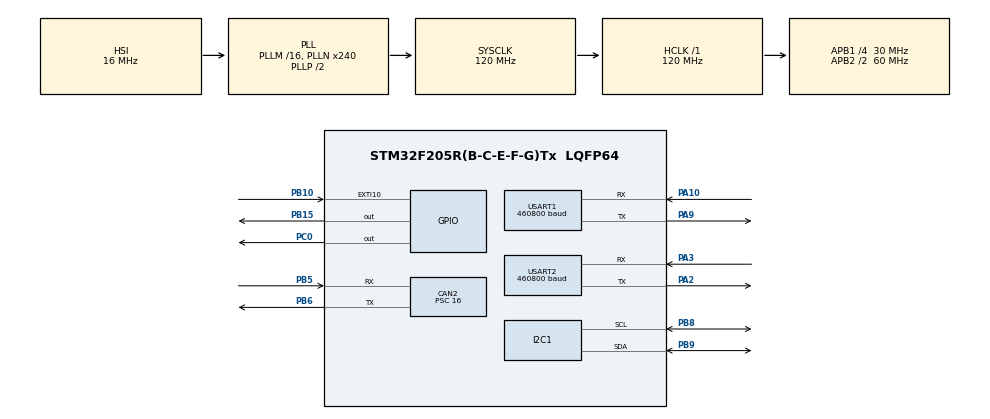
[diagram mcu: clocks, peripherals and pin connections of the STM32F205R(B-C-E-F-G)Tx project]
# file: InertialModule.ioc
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CAN2.BS1=CAN_BS1_6TQ
CAN2.BS1-Slave=CAN_BS1_6TQ
CAN2.BS2=CAN_BS2_8TQ
CAN2.BS2-Slave=CAN_BS2_8TQ
CAN2.CalculateTimeBit=8000
CAN2.CalculateTimeBit-Slave=8010
CAN2.CalculateTimeQuantum=533.3333333333334
CAN2.CalculateTimeQuantum-Slave=534
CAN2.Mode=CAN_MODE_LOOPBACK
CAN2.Mode-Slave=CAN_MODE_NORMAL
CAN2.NART=ENABLE
CAN2.NART-Slave=ENABLE
CAN2.Prescaler=16
CAN2.Prescaler-Slave=16
Mcu.Family=STM32F2
Mcu.Name=STM32F205R(B-C-E-F-G)Tx
Mcu.Package=LQFP64
NVIC.PriorityGroup=NVIC_PRIORITYGROUP_4
NVIC.TIM6_DAC_IRQn=true\:3\:0\:true
NVIC.TIM7_IRQn=true\:4\:0\:true
NVIC.USART1_IRQn=true\:0\:0\:false
NVIC.USART2_IRQn=true\:2\:0\:true
PA10.Mode=Asynchronous
PA10.Signal=USART1_RX
PA13.Mode=Serial-Wire
PA13.Signal=SYS_JTMS-SWDIO
PA14.Mode=Serial-Wire
PA14.Signal=SYS_JTCK-SWCLK
PA2.Mode=Asynchronous
PA2.Signal=USART2_TX
PA3.Mode=Asynchronous
PA3.Signal=USART2_RX
PA9.Mode=Asynchronous
PA9.Signal=USART1_TX
PB10.Signal=GPXTI10
PB15.Signal=GPIO_Output
PB5.GPIO_Mode=GPIO_MODE_AF_PP
PB5.GPIO_PuPd=GPIO_NOPULL
PB5.GPIO_Speed=GPIO_SPEED_FAST
PB5.Mode=Slave
PB5.Signal=CAN2_RX
PB6.GPIO_Mode=GPIO_MODE_AF_PP
PB6.GPIO_PuPd=GPIO_NOPULL
PB6.GPIO_Speed=GPIO_SPEED_FAST
PB6.Mode=Slave
PB6.Signal=CAN2_TX
PB8.Mode=I2C
PB8.Signal=I2C1_SCL
PB9.Mode=I2C
PB9.Signal=I2C1_SDA
PC0.GPIO_ModeDefaultOutputPP=GPIO_MODE_OUTPUT_PP
PC0.GPIO_PuPd=GPIO_NOPULL
PC0.GPIO_Speed=GPIO_SPEED_FAST
PC0.Signal=GPIO_Output
ProjectManager.TargetToolchain=TrueSTUDIO 4.3.1
RCC.48MHZClocksFreq_Value=60000000
RCC.AHBFreq_Value=120000000
RCC.APB1CLKDivider=RCC_HCLK_DIV4
RCC.APB1Freq_Value=30000000
RCC.APB1TimFreq_Value=60000000
RCC.APB2CLKDivider=RCC_HCLK_DIV2
RCC.APB2Freq_Value=60000000
RCC.APB2TimFreq_Value=120000000
RCC.CortexFreq_Value=120000000
RCC.HCLKFreq_Value=120000000
RCC.HSE_VALUE=8000000
RCC.HSICalibrationValue=1
RCC.HSI_VALUE=16000000
RCC.LSE_VALUE=32768
RCC.PLLN=240
RCC.SYSCLKFreq_VALUE=120000000
RCC.SYSCLKSource=RCC_SYSCLKSOURCE_PLLCLK
RCC.VCOOutputFreq_Value=240000000
TIM6.Period=366
TIM6.Prescaler=16383
TIM7.Period=10
TIM7.Prescaler=6000
USART1.BaudRate=460800
USART1.Mode=UART_MODE_RX
USART2.BaudRate=460800
USART2.Mode=UART_MODE_RX
USART2.OverSampling=UART_OVERSAMPLING_8
VP_TIM6_VS_ClockSourceINT.Mode=Enable_Timer
VP_TIM7_VS_ClockSourceINT.Mode=Enable_Timer

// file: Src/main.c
/**
  ******************************************************************************
  * File Name          : main.c
  * Description        : Main program body
  ******************************************************************************
  *
  * COPYRIGHT(c) 2015 STMicroelectronics
  *
  * Redistribution and use in source and binary forms, with or without modification,
  * are permitted provided that the following conditions are met:
  *   1. Redistributions of source code must retain the above copyright notice,
  *      this list of conditions and the following disclaimer.
  *   2. Redistributions in binary form must reproduce the above copyright notice,
  *      this list of conditions and the following disclaimer in the documentation
  *      and/or other materials provided with the distribution.
  *   3. Neither the name of STMicroelectronics nor the names of its contributors
  *      may be used to endorse or promote products derived from this software
  *      without specific prior written permission.
  *
  * THIS SOFTWARE IS PROVIDED BY THE COPYRIGHT HOLDERS AND CONTRIBUTORS "AS IS"
  * AND ANY EXPRESS OR IMPLIED WARRANTIES, INCLUDING, BUT NOT LIMITED TO, THE
  * IMPLIED WARRANTIES OF MERCHANTABILITY AND FITNESS FOR A PARTICULAR PURPOSE ARE
  * DISCLAIMED. IN NO EVENT SHALL THE COPYRIGHT HOLDER OR CONTRIBUTORS BE LIABLE
  * FOR ANY DIRECT, INDIRECT, INCIDENTAL, SPECIAL, EXEMPLARY, OR CONSEQUENTIAL
  * DAMAGES (INCLUDING, BUT NOT LIMITED TO, PROCUREMENT OF SUBSTITUTE GOODS OR
  * SERVICES; LOSS OF USE, DATA, OR PROFITS; OR BUSINESS INTERRUPTION) HOWEVER
  * CAUSED AND ON ANY THEORY OF LIABILITY, WHETHER IN CONTRACT, STRICT LIABILITY,
  * OR TORT (INCLUDING NEGLIGENCE OR OTHERWISE) ARISING IN ANY WAY OUT OF THE USE
  * OF THIS SOFTWARE, EVEN IF ADVISED OF THE POSSIBILITY OF SUCH DAMAGE.
  *
  ******************************************************************************
  */

#include "stm32f2xx_hal.h"
#include "can.h"
#include "i2c.h"
#include "tim.h"
#include "usart.h"
#include "gpio.h"

/* USER CODE BEGIN Includes */
#include "main.h"
#include "CAN_protocol.h"

//#include "stdlib.h"
//#include "c++/4.8.1/vector"
//#include <c++/4.8.1/bits/stl_vector.h>
//#include "stdio.h"

/* USER CODE END Includes */

/* USER CODE BEGIN PV */
#define RXBUFFERSIZE 1000
 #define	sIDLE		0
 #define	sHEAD		1
 #define	sDATA		2
 #define	sEND		3
 #define	sPRECRC		4
 #define	sPOSTCRC	5
 #define	sCHECK		6
 #define	sDONE		7
#define DLEBINR 16
#define ETXBINR 3
#define framedArrSIZE 49
uint16_t DLINA_AT;
char AT_COM[64];
int TxBusy = 0;
char mas[1];

char 	TxNMEA0183[500];			//буфер передатчика
uint8_t		TxCntNMEA0183;				//счетчик передатчика
char 	RxNMEA0183[500];			//буфер передатчика
uint8_t		RxCntNMEA0183;				//счетчик передатчика
bool	reciveNMEA0183;				//флаг принятых новых данных
bool	sendNMEA0183;				//флаг окончания передачи
bool	T7Flag;						//флаг срабатывания таймера №7
char 	TxRS485[500];			//буфер передатчика
uint8_t		TxCntRS485;				//счетчик передатчика
char 	RxRS485[500];			//буфер передатчика
uint8_t		RxCntRS485;				//счетчик передатчика
bool	reciveRS485;				//флаг принятых новых данных
bool	sendRS485;				//флаг окончания передачи
bool	reciveADRRS485;				//флаг совпадения принятого и текущего адреса
uint8_t aRxBuffer[RXBUFFERSIZE];
char 	TxBINR[500];			//буфер передатчика
uint16_t		TxCntBINR;				//счетчик передатчика
char 	RxBINR[2048];			//буфер передатчика
uint16_t		RxCntBINR;				//счетчик передатчика
bool	reciveBINR;				//флаг принятых новых данных
bool	sendBINR;				//флаг окончания передачи
// bool idleCatched = false;
bool	flagnewbinr;
uint16_t 		RxWrIndex;
bool 	RxBinrBuffOverrun;
uint8_t		NumberSatateRxBINR;		//флаг состояния автомата
#ifdef yesCRC
	bool	CRCok;					//флаг совпадения контрольных сумм
	uint8_t		NumberbyteCRC;			//счетчик байт контрольной суммы
	uint8_t		MCRC[5];				//массив байт контрольной суммы
#endif
uint8_t		hE4BINRmas[530];		//массив с принятым пакетом Е4
bool	hE4BINRok;				//флаг притяного массива Е4
uint8_t		h41BINRmas[12];			//массив с принятым пакетом 41
bool	h41BINRok;				//флаг притяного массива 41
uint8_t		h52BINRmas[224];		//массив с принятым пакетом 52
bool	h52BINRok;				//флаг притяного массива 52
uint8_t		h88BINRmas[69];			//массив с принятым пакетом 88
bool	h88BINRok;				//флаг притяного массива 88
//uint8_t
int dataArrIndex;
int mesCount =86;
uint8_t modeCANmsg;
int size = 0;
uint8_t INSstructArr[72];
uint8_t DMU10_mes[68];
volatile uint8_t messg[8];
volatile int cntr=0;
uint8_t headerLSB=0,headerMSB=0;
bool recieveFlag = false;
uint32_t mesCounter=0;
unsigned short Serial;//
unsigned char MsgType,Devtype,Priority,MsgMode;
uint8_t framedArrCANTx[framedArrSIZE];
//TIM_Base_InitTypeDef TimHandle;
bool checkMessageFlag;
int idleCounter;
int rxCounter;
bool beginCANTransmitFlag;
int canMessCounter=0;
char inc;
int rpuChannelsQty=0;
INSCoordMessage insdata;
/* USER CODE END PV */

void SystemClock_Config(void);

/* USER CODE BEGIN 0 */
#define CAN_SHDN_PORT GPIOB
#define CAN_SHDN_PIN GPIO_PIN_15

#define LED_LEG_PORT GPIOC
#define LED_LEG_PIN GPIO_PIN_0
//#define RESET_CSM_PORT GPIOB
//#define RESET_CSM_PIN GPIO_PIN_7
//
//#define LED_1_PORT GPIOE
//#define LED_1_PIN  GPIO_PIN_2

#define __HAL_CAN_CANCEL_TRANSMIT(__HANDLE__, __TRANSMITMAILBOX__)\
(((__TRANSMITMAILBOX__) == CAN_TXMAILBOX_0)? ((__HANDLE__)->Instance->TSR |= CAN_TSR_ABRQ0) :\
 ((__TRANSMITMAILBOX__) == CAN_TXMAILBOX_1)? ((__HANDLE__)->Instance->TSR |= CAN_TSR_ABRQ1) :\
 ((__HANDLE__)->Instance->TSR |= CAN_TSR_ABRQ2))
/* USER CODE END 0 */

int main(void)
{

  /* USER CODE BEGIN 1 */
	beginCANTransmitFlag = 0;

  /* USER CODE END 1 */

  /* MCU Configuration----------------------------------------------------------*/

  /* Reset of all peripherals, Initializes the Flash interface and the Systick. */
  HAL_Init();

  /* Configure the system clock */
  SystemClock_Config();

  /* Initialize all configured peripherals */
  MX_GPIO_Init();
  MX_CAN2_Init();
  MX_I2C1_Init();
  MX_TIM6_Init();
  MX_TIM7_Init();
  MX_USART1_UART_Init();
  MX_USART2_UART_Init();

  /* USER CODE BEGIN 2 */
//  HAL_CAN_MspInit(&hcan2);
  inc = 0;
  double tmp = 1.2;
  volatile uint8_t arr[sizeof(tmp)];
  volatile int sizechecker;
  sizechecker = sizeof(float);
  sizechecker = sizeof(double);
  var2ArrConverter((char*)&tmp,sizeof(tmp),arr);
  volatile const uint8_t someval= calcCSofArr(arr,7);
  hcan2.pTxMsg = &TxMessage;
  hcan2.pRxMsg = &RxMessage;
  TxMessage.StdId = &STDID;
  IMfreqs.MDADFrequency = 20;
  IMfreqs.MDLUFrequency = 300;
  IMfreqs.MDUSFrequency = 180;
  IMfreqs.totalFrequency = 500;
  checkFrequencies();
  HAL_UART_Receive_IT(&huart1,mas,1);
//  Freq = 500;
  FreqPresc = CoreFreq/(IMfreqs.totalFrequency);
  htim7.Init.Prescaler = FreqPresc;//*0.908;
  htim7.Init.Period = 1;
  CAN_FilterConfTypeDef sFilterConfig;
  sFilterConfig.BankNumber = 0;
  sFilterConfig.FilterActivation = ENABLE;
  sFilterConfig.FilterFIFOAssignment = CAN_FILTER_FIFO0;
  sFilterConfig.FilterIdHigh = 0x0;// ДЛУ
  sFilterConfig.FilterIdLow = 0x000C;
  sFilterConfig.FilterMaskIdHigh = 0x0;
  sFilterConfig.FilterMaskIdLow = 0x0;
  sFilterConfig.FilterMode = CAN_FILTERMODE_IDMASK;
  sFilterConfig.FilterNumber = 0;
  sFilterConfig.FilterScale = CAN_FILTERSCALE_32BIT;
//  HAL_CAN_ConfigFilter(&hcan2, &sFilterConfig);
  HAL_CAN_Init(&hcan2);
  volatile int clock = HAL_RCC_GetSysClockFreq();
  clock = HAL_RCC_GetPCLK1Freq();
  clock = HAL_RCC_GetHCLKFreq();
  clock = HAL_RCC_GetPCLK2Freq();
  volatile RCC_OscInitTypeDef rccConf;
  HAL_RCC_GetOscConfig(&rccConf);
  /* USER CODE END 2 */

  /* Infinite loop */
  /* USER CODE BEGIN WHILE */
//  while (1)
//  {
  /* USER CODE END WHILE */

  /* USER CODE BEGIN 3 */
  module = INScoords;
  HAL_GPIO_WritePin(CAN_SHDN_PORT,CAN_SHDN_PIN,0);
  size = getArraySize((uint8_t*)&insdata,sizeof(INSCoordMessage));

//  HAL_CAN_Receive_IT(&hcan2,CAN_FIFO0);
  /* Infinite loop */
  while (1)
  {
	  protocolMessageProcessor((uint8_t*)&insdata,sizeof(INSCoordMessage),INSstructArr);
	  volatile int m;
	  for(int i = 0; i < size/8; i++ )
	  {

		  cntr = mesQueueProcedure(INSstructArr,cntr,messg,size);
		  if(i==0)
			  m=3;
		  else if(i==size/8-1)
			 m=2;
		  else
			 m=1;
		  prepareSTDID(m,module);
		  setTxDataMessage(module,messg);
		  hcan2.pTxMsg = &TxMessage;
		  if(HAL_CAN_Transmit(&hcan2,3)!=HAL_OK)
			  		{
			  			Error_Handler();
			  		}

	  }
	  cntr = 0;
 }
  /* USER CODE END 3 */

}

/** System Clock Configuration
*/
void SystemClock_Config(void)
{

  RCC_OscInitTypeDef RCC_OscInitStruct;
  RCC_ClkInitTypeDef RCC_ClkInitStruct;

  RCC_OscInitStruct.OscillatorType = RCC_OSCILLATORTYPE_HSI;
  RCC_OscInitStruct.HSIState = RCC_HSI_ON;
  RCC_OscInitStruct.HSICalibrationValue = 1;
  RCC_OscInitStruct.PLL.PLLState = RCC_PLL_ON;
  RCC_OscInitStruct.PLL.PLLSource = RCC_PLLSOURCE_HSI;
  RCC_OscInitStruct.PLL.PLLM = 16;
  RCC_OscInitStruct.PLL.PLLN = 240;
  RCC_OscInitStruct.PLL.PLLP = RCC_PLLP_DIV2;
  RCC_OscInitStruct.PLL.PLLQ = 4;
  HAL_RCC_OscConfig(&RCC_OscInitStruct);

  RCC_ClkInitStruct.ClockType = RCC_CLOCKTYPE_SYSCLK|RCC_CLOCKTYPE_PCLK1
                              |RCC_CLOCKTYPE_PCLK2;
  RCC_ClkInitStruct.SYSCLKSource = RCC_SYSCLKSOURCE_PLLCLK;
  RCC_ClkInitStruct.AHBCLKDivider = RCC_SYSCLK_DIV1;
  RCC_ClkInitStruct.APB1CLKDivider = RCC_HCLK_DIV4;
  RCC_ClkInitStruct.APB2CLKDivider = RCC_HCLK_DIV2;
  HAL_RCC_ClockConfig(&RCC_ClkInitStruct, FLASH_LATENCY_3);

  HAL_SYSTICK_Config(HAL_RCC_GetHCLKFreq()/1000);

  HAL_SYSTICK_CLKSourceConfig(SYSTICK_CLKSOURCE_HCLK);

}

/* USER CODE BEGIN 4 */

/*NOT IN USE NOW!!!!!
 * procedure func calculate which of subdevices'(MDLU,MDUS,MDAD) data should now be transmitted on CAN
 * also checks cycle state: 0 means transmition to be continued, 1 means last subdevice tick, and beginning new cycle
 * of transmition on next step
 */
char freqQueue(char *f)
{
	double MDLUweightGain = (double)((double)IMfreqs.totalFrequency/(double)IMfreqs.MDLUFrequency)*(double)IMfreqs.MDLUtickCounter;
	double MDUSweightGain = (double)((double)IMfreqs.totalFrequency/(double)IMfreqs.MDUSFrequency)*(double)IMfreqs.MDUStickCounter;
	double MDADweightGain = (double)((double)IMfreqs.totalFrequency/(double)IMfreqs.MDADFrequency)*(double)IMfreqs.MDADtickCounter;
	*f = 3;
	if(MDLUweightGain>=MDUSweightGain)
	{
		if(MDUSweightGain<=MDADweightGain)
		{
			if(IMfreqs.MDUStickCounter<IMfreqs.totalFrequency)
			{
				IMfreqs.MDUStickCounter++;
				*f = MDUSFrequency;
				return 0;
			}
			else return 1;
		}
		else
		{
			if(IMfreqs.MDADtickCounter<IMfreqs.totalFrequency)
			{
				IMfreqs.MDADtickCounter++;
				*f = MDADFrequency;
				return 0;
			}
			else return 1;
		}
	}
	else
	{
		if(MDLUweightGain<=MDADweightGain)
		{
			if(IMfreqs.MDLUtickCounter<IMfreqs.totalFrequency)
			{
				IMfreqs.MDLUtickCounter++;
				*f = MDLUFrequency;
				return 0;
			}
			else return 1;
		}
		else
		{
			if(IMfreqs.MDADtickCounter<IMfreqs.totalFrequency)
			{
				IMfreqs.MDADtickCounter++;
				*f = MDADFrequency;
				return 0;
			}
			else return 1;
		}
	}

}
/*NOT IN USE NOW!!!!
 * check correctness of desired MDAD,MDLU and MDUS frequencies, do their sum is equal to totalFrequency of device
 * returns 0 if ok, and  1 if nope
 */
char checkFrequencies()
{
	if(IMfreqs.totalFrequency == (IMfreqs.MDUSFrequency+IMfreqs.MDLUFrequency+IMfreqs.MDADFrequency))
	{
		IMfreqs.MDLUtickCounter = 0;
		IMfreqs.MDUStickCounter = 0;
		IMfreqs.MDADtickCounter = 0;
		return 0;
	}
	else
		return 1;
}

void Error_Handler()
{
	volatile uint32_t tmpError=0;
	volatile HAL_CAN_StateTypeDef tmpStatus=0;
	tmpError = HAL_CAN_GetError(&hcan2);
	if(tmpError==0)
	{
		tmpStatus = HAL_CAN_GetState(&hcan2);
	}
	if(tmpStatus!=HAL_CAN_STATE_READY)
	{
		hcan2.State = HAL_CAN_STATE_READY;
//		HAL_CAN_DeInit(&hcan2);
//		HAL_CAN_Init(&hcan2);
	}

}

void HAL_CAN_RxCpltCallback(CAN_HandleTypeDef* hcan)
{
	if (hcan->pRxMsg->FIFONumber == 0)
	{

	}
	if (hcan->pRxMsg->FIFONumber == 1)
	{

	}
	if(hcan->Instance==CAN2)
	{
//		HAL_CAN_Receive_IT(&hcan2,CAN_FIFO0);
		counter++;
		HAL_GPIO_TogglePin(LED_LEG_PORT,LED_LEG_PIN);
	}
	HAL_CAN_Receive_IT(&hcan2,CAN_FIFO0);
//	if(HAL_CAN_Receive_IT(&hcan2,CAN_FIFO0)!= HAL_OK)
//	{
//		Error_Handler();
//	}
}
void HAL_CAN_ErrorCallback(CAN_HandleTypeDef *hcan)
{
	__IO uint32_t ERR;
	if(hcan->Instance==CAN2)
	{
		  ERR=hcan->ErrorCode;
		  hcan->ErrorCode=0;
		  if ( ((hcan->Instance->TSR&CAN_TSR_TERR0) == CAN_TSR_TERR0) )
		  {
			__HAL_CAN_CANCEL_TRANSMIT(hcan,0);
		  }
//		  if ((hcan->Instance->TSR&CAN_TSR_TME1) == 0)
//		  {
//			  __HAL_CAN_CANCEL_TRANSMIT(hcan,1);
//		  }
//		  if ((hcan->Instance->TSR&CAN_TSR_TME2) == 0)
//		  {
//			  __HAL_CAN_CANCEL_TRANSMIT(hcan,2);
//		  }
		  HAL_CAN_Receive_IT(&hcan2,CAN_FIFO0);
	}
}

void HAL_UART_RxCpltCallback(UART_HandleTypeDef *huart)
{
	if(huart->Instance==USART1)
	{

		uint8_t rxbyte = (uint8_t)USART1->DR;
		HAL_UART_Receive_IT(huart, mas, 1);

		if(recieveFlag)
		{

			mesCounter++;
			DMU10_mes[mesCounter] = rxbyte;
			if(mesCounter==67)
			{
//			    DMU10msg = *(DMU10Message*)DMU10_mes;
				uint8_t tmparr[68];
				straightToInverseConverter(DMU10_mes,sizeof(DMU10Message),tmparr);
			    memcpy(&DMU10msg,tmparr,sizeof(DMU10Message));
			    convertDMU10ToINSMessage(&insdata,DMU10msg);
				recieveFlag=0;
				mesCounter = 0;
				headerLSB=0;
				headerMSB=0;
				clearDMU10_mes();
			}
		}
		else
		{
//			headerLSB=0;
			if(rxbyte==0x55)
			{

				headerMSB = 0x55;
				recieveFlag = false;
				clearDMU10_mes();
				mesCounter=0;
				DMU10_mes[mesCounter] = rxbyte;
	//			headerMSB=0;
			}
			else if(rxbyte==0xAA)
			{
//				headerLSB = 0;
				if(headerMSB == 0x55)
				{
					headerLSB=0xAA;
					recieveFlag = true;
//					mesCounter = 1;
					DMU10_mes[++mesCounter] = rxbyte;
				}
			}
		}

	}
	if(huart->Instance==USART2)
	{
		char rxbyte = (char)USART2->DR;
		HAL_UART_Receive_IT(huart, mas, 1);
	}
}

void convertDMU10ToINSMessage(INSCoordMessage *ins,DMU10Message dmu)
{
	ins->aX = dmu.Xacceleration;
	ins->aY = dmu.Yacceleration;
	ins->aZ = dmu.Zacceleration;
	ins->wX = dmu.Xrate;
	ins->wY = dmu.Yrate;
	ins->wZ = dmu.Zrate;
	ins->XIN = 0;
	ins->YIN = 0;
	ins->ZIN = 0;
	ins->angleX = dmu.XDeltaTheta;
	ins->angleY = dmu.YDeltaTheta;
	ins->angleZ = dmu.ZDeltaTheta;
	ins->xDIS = 0;
	ins->yDIS = 0;
	ins->zDIS = 0;

}

int straightToInverseConverter(uint8_t *inarr, uint32_t size, uint8_t *outarr)
{
	if(size==sizeof(DMU10Message))
	{
		outarr[0]=inarr[1];
		outarr[1]=inarr[0];

		outarr[2]=inarr[3];
		outarr[3]=inarr[2];
		for(int i = 4; i < 60; i+=4)
		{
			outarr[i]=inarr[i+3];
			outarr[i+1]=inarr[i+2];
			outarr[i+2]=inarr[i+1];
			outarr[i+3]=inarr[i];
		}

		outarr[60]=inarr[61];
	    outarr[61]=inarr[60];

	    outarr[62]=inarr[63];
	    outarr[63]=inarr[62];

		outarr[64]=inarr[65];
	    outarr[65]=inarr[64];

	    outarr[66]=inarr[67];
	    outarr[67]=inarr[66];

	}
	else return -1;
	return 0;
}

void clearDMU10_mes()
{
	for(int i =0; i < 68; i++)
	{
		DMU10_mes[i] = 0;
	}
}

void HAL_UART_ErrorCallback(UART_HandleTypeDef *huart)
{
	if(huart->Instance == USART1)
	{
//		huart->ErrorCode = HAL_UART_ERROR_NONE;
		if(HAL_UART_GetError(huart)==HAL_UART_ERROR_ORE)
			__HAL_UART_CLEAR_FLAG(huart,HAL_UART_ERROR_ORE);
		recieveFlag = false;
		mesCounter = 0;
		clearDMU10_mes();
		huart->ErrorCode = HAL_UART_ERROR_NONE;
//		huart->State = HAL_UART_STATE_READY;
		char rxbyte = (char)USART1->DR;
		HAL_UART_Receive_IT(huart, mas, 1);
	}
}

void HAL_CAN_TxCpltCallback(CAN_HandleTypeDef* hcan)
{
	if(hcan->Instance==CAN2)
	{
		if(HAL_CAN_GetState(&hcan2)==HAL_CAN_STATE_READY)
		  for(int i = 1; i < size/8; i++ )
		  {
			  cntr = mesQueueProcedure(INSstructArr,cntr,messg,size);
			  HAL_CAN_Transmit_IT(&hcan2);
	//		  HAL_Delay(10);
	//		  if(HAL_CAN_Transmit(&hcan2,3)!=HAL_OK)
	//			  		{
	//			  			Error_Handler();
	//			  		}
	//		  if(cntr!=-1)
	//		  	  HAL_CAN_Transmit(&hcan2,2);
	//		  else
	//			  i = size/8;

		  }
//		if(canMessCounter<mesCount)
//			{
//				if(canMessCounter<mesCount-1)
//					prepareSTDID(1,2,3,3);
//				else
//					prepareSTDID(2,2,3,3);
//				hcan2.pTxMsg = &framedMessagesArr[canMessCounter];
//				framedMessagesArr[canMessCounter].IDE = CAN_ID_STD;
//				framedMessagesArr[canMessCounter].DLC = 8;
//				uint32_t tmp = *(uint32_t*)&STDID;
//				framedMessagesArr[canMessCounter++].StdId =tmp;
//				HAL_CAN_Transmit_IT(&hcan2);
//		//		beginCANTransmitFlag = false;
//			}
//		else canMessCounter=0;

	}
//	if(HAL_CAN_GetState(&hcan2)==HAL_CAN_STATE_READY)
//	{

//			hcan2.pTxMsg = framedMessagesArr[canMessCounter++];
//			prepareSTDID((char)mesMode,2,3,3);
//			hcan2.pTxMsg = &framedMessagesArr[j];
//			framedMessagesArr[j].IDE = CAN_ID_STD;
//			framedMessagesArr[j].DLC = 8;
//			framedMessagesArr[j].StdId = STDID;
//			HAL_CAN_Transmit_IT(&hcan2);
//			HAL_CAN_Transmit_IT()
//		}
//	}
//	 HAL_CAN_IRQHandler(&hcan2);
//	HAL_CAN_Transmit_IT(&hcan2);
}

void HAL_TIM_PeriodElapsedCallback(TIM_HandleTypeDef *htim)
{
	volatile char f;
	char msgtype = 0x0;
	char devtype;
	short serial = 0x0011;
	char priority = 0, mesMode = 0;
	//	IIMinstr = IIM_disablePolling_MDUS;
	if(freqQueue(&f)==1)
		checkFrequencies();
	else
		switch(f)
		{
			case 0:
			{
				devtype = MDLU;
//				prepareEXTID(serial,msgtype,devtype,priority,modeCANmsg);
				HAL_CAN_Receive_IT(&hcan2,CAN_FIFO0);
				prepareSTDID(SingleMessage,INScoords);
//				setTxDataMessage(MDLU);
				HAL_CAN_Transmit(&hcan2, 20);
				break;
			}
			case 1:
			{
				devtype = MDUS;
//				prepareEXTID(serial,msgtype,devtype,priority,modeCANmsg);
				HAL_CAN_Receive_IT(&hcan2,CAN_FIFO0);
				prepareSTDID(SingleMessage,INScoords);
//				setTxDataMessage(MDUS);
				HAL_CAN_Transmit(&hcan2, 20);
				break;
			}
			case 2:
			{
				devtype = MDAD;
//				prepareEXTID(serial,msgtype,devtype,priority,modeCANmsg);
				HAL_CAN_Receive_IT(&hcan2,CAN_FIFO0);
				prepareSTDID(SingleMessage,INScoords);
//				setTxDataMessage(MDAD);
				HAL_CAN_Transmit(&hcan2, 20);
				break;
			}
			default:
				break;
		}

	HAL_GPIO_TogglePin(LED_LEG_PORT,LED_LEG_PIN);
}

//}

//void SendAT (const char * S)		//Функция выдачи строковой команды модулю
//{
//
//	 TxBusy = 1;
//	 strcpy (AT_COM,S);
//	 DLINA_AT = strlen (AT_COM);
//	 HAL_UART_Transmit_IT(&huart4, AT_COM, DLINA_AT);
//	 HAL_Delay(1);
//
//}
/* USER CODE END 4 */

/************************ (C) COPYRIGHT STMicroelectronics *****END OF FILE****/
